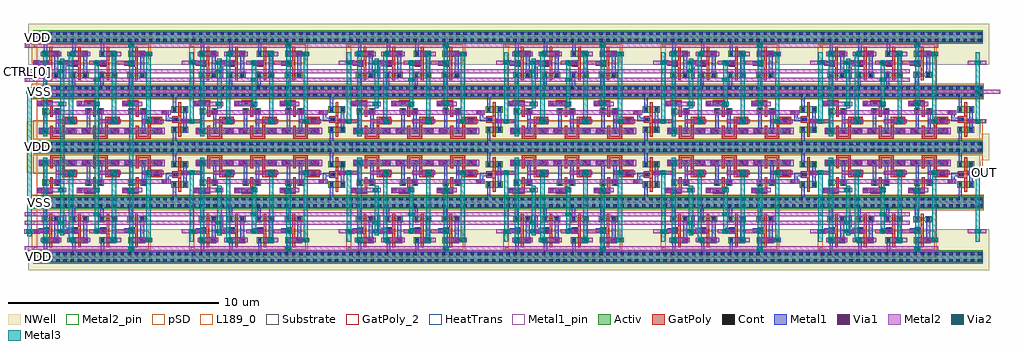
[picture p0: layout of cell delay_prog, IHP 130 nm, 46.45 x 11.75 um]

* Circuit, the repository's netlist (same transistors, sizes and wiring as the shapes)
** sch_path: $SCRIPT_DIR/ADC8711-main/schematic/xschem/delay_prog.sch
.subckt delay_prog OUT IN VDD VSS CTRL[2] CTRL[1] CTRL[0]
*.PININFO IN:I VDD:B VSS:B CTRL[2:0]:I OUT:O
x1 OUT0 IN VDD VSS CTRL[2] CTRL[1] CTRL[0] delay_prog_sub
x2 OUT1 OUT0 VDD VSS CTRL[2] CTRL[1] CTRL[0] delay_prog_sub
x3 OUT2 OUT1 VDD VSS CTRL[2] CTRL[1] CTRL[0] delay_prog_sub
x4 OUT3 OUT2 VDD VSS CTRL[2] CTRL[1] CTRL[0] delay_prog_sub
x5 OUT4 OUT3 VDD VSS CTRL[2] CTRL[1] CTRL[0] delay_prog_sub
x6 OUT5 OUT4 VDD VSS CTRL[2] CTRL[1] CTRL[0] delay_prog_sub
x7 OUT6 OUT5 VDD VSS CTRL[2] CTRL[1] CTRL[0] delay_prog_sub
x8 OUT7 OUT6 VDD VSS CTRL[2] CTRL[1] CTRL[0] delay_prog_sub
x9 OUT8 OUT7 VDD VSS CTRL[2] CTRL[1] CTRL[0] delay_prog_sub
x10 OUT9 OUT8 VDD VSS CTRL[2] CTRL[1] CTRL[0] delay_prog_sub
x11 OUT10 OUT9 VDD VSS CTRL[2] CTRL[1] CTRL[0] delay_prog_sub
x12 OUT OUT10 VDD VSS CTRL[2] CTRL[1] CTRL[0] delay_prog_sub
.ends

* expanding   symbol:  delay_prog_sub.sym # of pins=5
** sym_path: $SCRIPT_DIR/ADC8711-main/schematic/xschem/delay_prog_sub.sym
** sch_path: $SCRIPT_DIR/ADC8711-main/schematic/xschem/delay_prog_sub.sch
.subckt delay_prog_sub OUT IN VDD VSS CTRL[2] CTRL[1] CTRL[0]
*.PININFO IN:I OUT:O VDD:B VSS:B CTRL[2:0]:I
x1 VDD net1 IN VSS INV_D1
x2 VDD OUT net2 VSS INV_D2
x3 CTRL[0] VSS net2 net1 VDD CTRLN[0] TG_2C
x4 CTRL[1] VSS net2 net1 VDD CTRLN[1] TG_2C
x5 CTRL[2] VSS net2 net1 VDD CTRLN[2] TG_2C
x6 VDD CTRLN[0] CTRL[0] VSS INV_D1
x7 VDD CTRLN[1] CTRL[1] VSS INV_D1
x8 VDD CTRLN[2] CTRL[2] VSS INV_D1
.ends


* expanding   symbol:  INV_D1.sym # of pins=4
** sym_path: $SCRIPT_DIR/ADC8711-main/schematic/xschem/INV_D1.sym
** sch_path: $SCRIPT_DIR/ADC8711-main/schematic/xschem/INV_D1.sch
.subckt INV_D1 VDD VOUT VIN VSS
*.PININFO VDD:B VSS:B VOUT:O VIN:I
MM2 VOUT VIN VDD VDD sg13_lv_pmos w=0.3u l=0.13u ng=1
MM1 VOUT VIN VSS VSS sg13_lv_nmos w=0.15u l=0.13u ng=1
.ends


* expanding   symbol:  INV_D2.sym # of pins=4
** sym_path: $SCRIPT_DIR/ADC8711-main/schematic/xschem/INV_D2.sym
** sch_path: $SCRIPT_DIR/ADC8711-main/schematic/xschem/INV_D2.sch
.subckt INV_D2 VDD VOUT VIN VSS
*.PININFO VDD:B VSS:B VOUT:O VIN:I
MM1 VOUT VIN VSS VSS sg13_lv_nmos w=0.3u l=0.13u ng=1
MM2 VOUT VIN VDD VDD sg13_lv_pmos w=0.3u l=0.13u ng=1
.ends


* expanding   symbol:  TG_2C.sym # of pins=6
** sym_path: $SCRIPT_DIR/ADC8711-main/schematic/xschem/TG_2C.sym
** sch_path: $SCRIPT_DIR/ADC8711-main/schematic/xschem/TG_2C.sch
.subckt TG_2C VCTRLN VSS VOUT VIN VDD VCTRLP
*.PININFO VCTRLN:B VCTRLP:B VOUT:O VIN:I VSS:B VDD:B
MM1 VOUT VCTRLN VIN VSS sg13_lv_nmos w=0.15u l=0.13u ng=1
MM2 VOUT VCTRLP VIN VDD sg13_lv_pmos w=0.15u l=0.13u ng=1 m=2
.ends

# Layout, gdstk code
import gdstk
lib = gdstk.Library(unit=1e-6, precision=5e-09)
def R(c, l, rs):  # rectangles x0, y0, x1, y1
    for r in rs: c.add(gdstk.rectangle(r[:2], r[2:], *l))
def A(c, l, x, y, w, h, nx, ny, dx, dy):  # array of equal rectangles
    R(c, l, [(x+i*dx, y+j*dy, x+i*dx+w, y+j*dy+h) for i in range(nx) for j in range(ny)])
Activ = (1, 0)
GatPoly = (5, 0)
GatPoly_2 = (5, 2)
Cont = (6, 0)
Metal1 = (8, 0)
Metal1_pin = (8, 2)
Metal2 = (10, 0)
Metal2_pin = (10, 2)
pSD = (14, 0)
Via1 = (19, 0)
Via2 = (29, 0)
Metal3 = (30, 0)
NWell = (31, 0)
Substrate = (40, 0)
HeatTrans = (51, 0)
L189_0 = (189, 0)

via_stack_12_1 = lib.new_cell('via_stack$12$1')
R(via_stack_12_1, Metal2, [(-0.145,-0.1,0.145,0.1)])
R(via_stack_12_1, Via2, [(-0.095,-0.095,0.095,0.095)])
R(via_stack_12_1, Metal3, [(-0.145,-0.1,0.145,0.1)])

via_stack_8_2 = lib.new_cell('via_stack$8$2')
R(via_stack_8_2, Metal2, [(-0.145,-0.1,0.145,0.1)])
R(via_stack_8_2, Via2, [(-0.095,-0.095,0.095,0.095)])
R(via_stack_8_2, Metal3, [(-0.145,-0.1,0.145,0.1)])

via_stack_7_2 = lib.new_cell('via_stack$7$2')
R(via_stack_7_2, Metal1, [(-0.145,-0.105,0.145,0.105)])
R(via_stack_7_2, Metal2, [(-0.145,-0.1,0.145,0.1)])
R(via_stack_7_2, Via1, [(-0.095,-0.095,0.095,0.095)])

via_stack_10_1 = lib.new_cell('via_stack$10$1')
R(via_stack_10_1, Activ, [(-1.17,-0.32,1.17,0.32)])
A(via_stack_10_1, Cont, -1.1, -0.25, 0.16, 0.16, 7, 2, 0.34, 0.34)
R(via_stack_10_1, Metal1, [(-1.15,-0.25,1.15,0.25)])

nmos_4_4_1 = lib.new_cell('nmos$4$4$1')
R(nmos_4_4_1, Activ, [(0,0.04,0.3,0.34), (0.57,0.04,0.87,0.34), (0,0.115,0.87,0.265)])
R(nmos_4_4_1, GatPoly, [(0.37,-0.065,0.5,0.445)])
R(nmos_4_4_1, GatPoly_2, [(0.37,-0.065,0.5,0.445)])
R(nmos_4_4_1, Cont, [(0.07,0.11,0.23,0.27), (0.64,0.11,0.8,0.27)])
R(nmos_4_4_1, Metal1, [(0.07,0.06,0.23,0.32), (0.64,0.06,0.8,0.32)])
R(nmos_4_4_1, Metal1_pin, [(0.07,0.06,0.23,0.32), (0.64,0.06,0.8,0.32)])
R(nmos_4_4_1, HeatTrans, [(0.37,-0.065,0.5,0.445)])
nmos_4_4_1.add(gdstk.Label('nmos', (0.435,0.19), layer=63, texttype=0))
nmos_4_4_1.add(gdstk.Label('nmos', (0.435,0.19), layer=51, texttype=0))

pmos_4_2_1 = lib.new_cell('pmos$4$2$1')
R(pmos_4_2_1, Activ, [(0,-0.04,0.3,0.26), (0.57,-0.04,0.87,0.26), (0,0.035,0.87,0.185)])
R(pmos_4_2_1, GatPoly, [(0.37,-0.145,0.5,0.365), (0.37,-0.145,0.5,0.365)])
R(pmos_4_2_1, Cont, [(0.07,0.03,0.23,0.19), (0.64,0.03,0.8,0.19)])
R(pmos_4_2_1, Metal1, [(0.07,-0.02,0.23,0.24), (0.07,-0.02,0.23,0.25), (0.64,-0.02,0.8,0.24), (0.64,-0.02,0.8,0.24)])
R(pmos_4_2_1, pSD, [(-0.18,-0.265,1.05,0.485)])
R(pmos_4_2_1, NWell, [(-0.31,-0.37,1.18,0.56)])
R(pmos_4_2_1, Substrate, [(0.57,-0.04,0.87,0.26)])
R(pmos_4_2_1, HeatTrans, [(0.37,-0.145,0.5,0.365)])
pmos_4_2_1.add(gdstk.Label('pmos', (0.435,0.11), layer=63, texttype=0))
pmos_4_2_1.add(gdstk.Label('pmos', (0.435,0.11), layer=51, texttype=0))

via1_constraint_2_6_1 = lib.new_cell('Via1_constraint$2$6$1')
R(via1_constraint_2_6_1, Metal1, [(0,0,0.29,0.29)])
R(via1_constraint_2_6_1, Metal2, [(0,0,0.29,0.29)])
R(via1_constraint_2_6_1, Via1, [(0.05,0.05,0.24,0.24)])

via_stack_4_1 = lib.new_cell('via_stack$4$1')
R(via_stack_4_1, Activ, [(-1.17,-0.32,1.17,0.32)])
A(via_stack_4_1, Cont, -1.1, -0.25, 0.16, 0.16, 7, 2, 0.34, 0.34)
R(via_stack_4_1, Metal1, [(-1.15,-0.25,1.15,0.25)])

via_stack_3_2 = lib.new_cell('via_stack$3$2')
R(via_stack_3_2, GatPoly, [(-0.15,-0.15,0.15,0.15)])
R(via_stack_3_2, Cont, [(-0.08,-0.08,0.08,0.08)])
R(via_stack_3_2, Metal1, [(-0.13,-0.08,0.13,0.08)])

tg_2c_3 = lib.new_cell('TG_2C$3')
R(tg_2c_3, GatPoly_2, [(0.71,0.77,1.26,1.07), (1.83,1.615,2.38,1.915)])
R(tg_2c_3, Metal1, [(0.69,0.46,2.27,0.62), (0.71,0.82,1.25,1), (1.77,1.675,2.31,1.855), (0.87,2.105,0.99,2.395), (1.97,2.105,2.09,2.395), (0.69,2.75,2.27,2.91)])
R(tg_2c_3, Metal1_pin, [(0.69,0.46,2.27,0.62), (0.71,0.82,1.25,1), (1.4,1.235,1.56,1.39), (1.77,1.675,2.31,1.855), (0.69,2.75,2.27,2.91)])
R(tg_2c_3, pSD, [(0.25,0,2.72,0.72)])
R(tg_2c_3, NWell, [(0,1.775,2.965,3.63)])
R(tg_2c_3, L189_0, [(0.475,0.37,2.515,3)])
tg_2c_3.add(gdstk.FlexPath([(1.48,2.395),(1.48,1.185)], 0.16, ends="flush", simple_path=True, layer=8, datatype=0))  # Metal1
tg_2c_3.add(gdstk.FlexPath([(0.91,2.395),(0.91,1.185)], 0.16, ends="flush", simple_path=True, layer=8, datatype=0))  # Metal1
tg_2c_3.add(gdstk.FlexPath([(1.7,1.735),(2.39,1.735)], 0.36, ends="flush", simple_path=True, layer=5, datatype=0))  # GatPoly
tg_2c_3.add(gdstk.FlexPath([(0.71,0.92),(1.26,0.92),(1.26,0.92)], 0.3, ends="flush", simple_path=True, layer=5, datatype=0))  # GatPoly
tg_2c_3.add(gdstk.FlexPath([(1.765,2),(1.765,1.695),(1.765,1.615)], 0.13, ends="flush", simple_path=True, layer=5, datatype=0))  # GatPoly
tg_2c_3.add(gdstk.FlexPath([(1.195,2.44),(1.195,2.54),(1.765,2.54),(1.765,2.44)], 0.13, ends="flush", simple_path=True, layer=5, datatype=0))  # GatPoly
tg_2c_3.add(gdstk.FlexPath([(0.76,2.25),(2.2,2.25),(2.2,2.25)], 0.29, ends="flush", simple_path=True, layer=10, datatype=0))  # Metal2
tg_2c_3.add(gdstk.Reference(nmos_4_4_1, (0.76,1.125)))
tg_2c_3.add(gdstk.Reference(pmos_4_2_1, (0.76,2.145)))
tg_2c_3.add(gdstk.Reference(pmos_4_2_1, (1.33,2.145)))
tg_2c_3.add(gdstk.Reference(via1_constraint_2_6_1, (2.09,2.105)))
tg_2c_3.add(gdstk.Reference(via1_constraint_2_6_1, (0.58,2.105)))
tg_2c_3.add(gdstk.Reference(via_stack_4_1, (1.495,3)))
tg_2c_3.add(gdstk.Reference(via_stack_4_1, (1.495,0.37)))
tg_2c_3.add(gdstk.Reference(via_stack_3_2, (2.07,1.765)))
tg_2c_3.add(gdstk.Reference(via_stack_3_2, (0.94,0.92)))
tg_2c_3.add(gdstk.Label('VIN', (0.875,1.305), layer=8, texttype=25))
tg_2c_3.add(gdstk.Label('VOUT', (1.515,1.28), layer=8, texttype=25))
tg_2c_3.add(gdstk.Label('VDD', (0.78,2.81), layer=8, texttype=25))
tg_2c_3.add(gdstk.Label('VCTRLN', (0.945,0.87), layer=8, texttype=25))
tg_2c_3.add(gdstk.Label('VCTRLP', (2.11,1.705), layer=8, texttype=25))
tg_2c_3.add(gdstk.Label('VSS', (0.685,0.525), layer=8, texttype=25))

pmos_1_13 = lib.new_cell('pmos$1$13')
R(pmos_1_13, Activ, [(0,0,0.3,0.3), (0,0,0.81,0.3), (0.51,0,0.81,0.3)])
R(pmos_1_13, GatPoly, [(0.34,-0.18,0.47,0.49), (0.34,-0.18,0.47,0.49)])
R(pmos_1_13, Cont, [(0.07,0.07,0.23,0.23), (0.58,0.07,0.74,0.23)])
R(pmos_1_13, Metal1, [(0.58,0,0.74,0.3), (0.58,0,0.74,0.3), (0.07,0.015,0.23,0.3), (0.07,0.015,0.23,0.3)])
R(pmos_1_13, pSD, [(-0.495,-0.3,0.99,0.6)])
R(pmos_1_13, NWell, [(-0.31,-0.31,1.12,0.61)])
R(pmos_1_13, Substrate, [(0.51,0,0.81,0.3)])
R(pmos_1_13, HeatTrans, [(0.34,-0.18,0.47,0.49)])
pmos_1_13.add(gdstk.Label('pmos', (0.405,0.15), layer=63, texttype=0))
pmos_1_13.add(gdstk.Label('pmos', (0.405,0.15), layer=51, texttype=0))

nmos_18 = lib.new_cell('nmos$18')
R(nmos_18, Activ, [(0,0,0.3,0.3), (0.57,0,0.87,0.3), (0,0.075,0.87,0.225)])
R(nmos_18, GatPoly, [(0.37,-0.105,0.5,0.405)])
R(nmos_18, GatPoly_2, [(0.37,-0.105,0.5,0.405)])
R(nmos_18, Cont, [(0.07,0.07,0.23,0.23), (0.64,0.07,0.8,0.23)])
R(nmos_18, Metal1, [(0.07,0.02,0.23,0.28), (0.64,0.02,0.8,0.28)])
R(nmos_18, Metal1_pin, [(0.07,0.02,0.23,0.28), (0.64,0.02,0.8,0.28)])
R(nmos_18, HeatTrans, [(0.37,-0.105,0.5,0.405)])
nmos_18.add(gdstk.Label('nmos', (0.435,0.15), layer=63, texttype=0))
nmos_18.add(gdstk.Label('nmos', (0.435,0.15), layer=51, texttype=0))

via_stack_30 = lib.new_cell('via_stack$30')
R(via_stack_30, Activ, [(-0.83,-0.32,0.83,0.32)])
A(via_stack_30, Cont, -0.76, -0.25, 0.16, 0.16, 5, 2, 0.34, 0.34)
R(via_stack_30, Metal1, [(-0.81,-0.25,0.81,0.25)])

inv_d1_13 = lib.new_cell('INV_D1$13')
R(inv_d1_13, GatPoly, [(0.65,0.88,0.78,1.405)])
R(inv_d1_13, Metal1, [(0.35,0.075,0.51,0.73), (0.89,0.585,1.08,1.885), (0.47,1.145,0.63,1.305), (0.38,1.885,0.54,2.45)])
R(inv_d1_13, Metal1_pin, [(0.35,0.075,0.51,0.235), (0.47,1.145,0.63,1.305), (0.89,1.23,1.08,1.41), (0.38,2.29,0.54,2.45)])
R(inv_d1_13, pSD, [(-0.19,-0.425,1.63,0.295)])
R(inv_d1_13, NWell, [(-0.355,1.275,1.785,3.17), (0,2.195,1.43,3.17)])
R(inv_d1_13, Substrate, [(0.82,1.585,1.12,1.885)])
R(inv_d1_13, L189_0, [(0.035,-0.075,1.395,2.54)])
inv_d1_13.add(gdstk.Reference(pmos_1_13, (0.31,1.585)))
inv_d1_13.add(gdstk.Reference(nmos_18, (0.28,0.58)))
inv_d1_13.add(gdstk.Reference(via_stack_30, (0.715,2.54)))
inv_d1_13.add(gdstk.Reference(via_stack_30, (0.715,-0.075)))
inv_d1_13.add(gdstk.Reference(via_stack_3_2, (0.5,1.27)))
inv_d1_13.add(gdstk.Label('nmos', (0.715,0.715), layer=63, texttype=0))
inv_d1_13.add(gdstk.Label('VDD', (0.51,2.425), layer=8, texttype=2))
inv_d1_13.add(gdstk.Label('VSS', (0.465,0.21), layer=8, texttype=2))
inv_d1_13.add(gdstk.Label('VIN', (0.57,1.265), layer=8, texttype=2))
inv_d1_13.add(gdstk.Label('VOUT', (1.04,1.375), layer=8, texttype=2))
inv_d1_13.add(gdstk.Label('VIN', (0.495,1.17), layer=8, texttype=25))

pmos_11 = lib.new_cell('pmos$11')
R(pmos_11, Activ, [(0,0,0.3,0.3), (0,0,0.81,0.3), (0.51,0,0.81,0.3)])
R(pmos_11, GatPoly, [(0.34,-0.18,0.47,0.48), (0.34,-0.18,0.47,0.48)])
R(pmos_11, Cont, [(0.07,0.07,0.23,0.23), (0.58,0.07,0.74,0.23)])
R(pmos_11, Metal1, [(0.07,0,0.23,0.3), (0.07,0,0.23,0.3), (0.58,0,0.74,0.3), (0.58,0,0.74,0.3)])
R(pmos_11, pSD, [(-0.18,-0.3,1.21,0.6)])
R(pmos_11, NWell, [(-0.31,-0.31,1.12,0.61)])
R(pmos_11, Substrate, [(0.51,0,0.81,0.3)])
R(pmos_11, HeatTrans, [(0.34,-0.18,0.47,0.48)])
pmos_11.add(gdstk.Label('pmos', (0.405,0.15), layer=63, texttype=0))
pmos_11.add(gdstk.Label('pmos', (0.405,0.15), layer=51, texttype=0))

nmos_1_9 = lib.new_cell('nmos$1$9')
R(nmos_1_9, Activ, [(0,0,0.3,0.3), (0,0,0.81,0.3), (0.51,0,0.81,0.3)])
R(nmos_1_9, GatPoly, [(0.34,-0.18,0.47,0.48)])
R(nmos_1_9, GatPoly_2, [(0.34,-0.18,0.47,0.48)])
R(nmos_1_9, Cont, [(0.07,0.07,0.23,0.23), (0.58,0.07,0.74,0.23)])
R(nmos_1_9, Metal1, [(0.07,0,0.23,0.3), (0.58,0,0.74,0.3)])
R(nmos_1_9, Metal1_pin, [(0.07,0,0.23,0.3), (0.58,0,0.74,0.3)])
R(nmos_1_9, HeatTrans, [(0.34,-0.18,0.47,0.48)])
nmos_1_9.add(gdstk.Label('nmos', (0.405,0.15), layer=63, texttype=0))
nmos_1_9.add(gdstk.Label('nmos', (0.405,0.15), layer=51, texttype=0))

inv_d2_2 = lib.new_cell('INV_D2$2')
R(inv_d2_2, GatPoly, [(1.18,1.545,1.31,1.865)])
R(inv_d2_2, Metal1, [(0.91,0.335,1.07,1.375), (1.42,1.075,1.58,2.34), (0.91,2.34,1.07,2.985)])
R(inv_d2_2, Metal1_pin, [(1.42,1.075,1.58,2.34)])
R(inv_d2_2, pSD, [(0.195,0.015,2.105,0.735)])
R(inv_d2_2, NWell, [(0.04,1.73,1.96,3.645)])
R(inv_d2_2, L189_0, [(0.545,0.38,1.905,2.995)])
inv_d2_2.add(gdstk.Reference(pmos_11, (0.84,2.04)))
inv_d2_2.add(gdstk.Reference(nmos_1_9, (0.84,1.075)))
inv_d2_2.add(gdstk.Reference(via_stack_30, (1.225,3.015)))
inv_d2_2.add(gdstk.Reference(via_stack_30, (1.225,0.385)))
inv_d2_2.add(gdstk.Reference(via_stack_3_2, (1.03,1.71)))
inv_d2_2.add(gdstk.Label('VSS', (1.27,0.59), layer=8, texttype=2))
inv_d2_2.add(gdstk.Label('VIN', (1.025,1.705), layer=8, texttype=2))
inv_d2_2.add(gdstk.Label('VOUT', (1.495,1.71), layer=8, texttype=2))
inv_d2_2.add(gdstk.Label('VDD', (1.25,2.8), layer=8, texttype=2))
inv_d2_2.add(gdstk.Label('VIN', (1.235,1.79), layer=5, texttype=2))

delay_prog_sub_placement = lib.new_cell('delay_prog_sub_placement')
delay_prog_sub_placement.add(gdstk.Reference(tg_2c_3, (0,3.63), x_reflection=True))
delay_prog_sub_placement.add(gdstk.Reference(tg_2c_3, (2.04,3.63), x_reflection=True))
delay_prog_sub_placement.add(gdstk.Reference(tg_2c_3, (4.08,3.63), x_reflection=True))
r = gdstk.Reference(inv_d1_13, (0.44,3.335)); r.repetition = gdstk.Repetition(1, 1, v1=(0,0), v2=(0,0)); delay_prog_sub_placement.add(r)
r = gdstk.Reference(inv_d1_13, (3.16,3.335)); r.repetition = gdstk.Repetition(1, 1, v1=(0,0), v2=(0,0)); delay_prog_sub_placement.add(r)
r = gdstk.Reference(inv_d1_13, (4.52,3.335)); r.repetition = gdstk.Repetition(1, 1, v1=(0,0), v2=(0,0)); delay_prog_sub_placement.add(r)
r = gdstk.Reference(inv_d1_13, (1.8,3.335)); r.repetition = gdstk.Repetition(1, 1, v1=(0,0), v2=(0,0)); delay_prog_sub_placement.add(r)
delay_prog_sub_placement.add(gdstk.Reference(inv_d2_2, (6.05,3.645), x_reflection=True))

delay_prog_sub = lib.new_cell('delay_prog_sub')
R(delay_prog_sub, Metal1, [(2.69,2.63,2.75,2.81), (2.015,4.48,2.27,4.685)])
R(delay_prog_sub, Metal1_pin, [(0.55,0.545,0.71,0.705), (0.55,3.185,0.71,3.345), (0.41,5.71,0.57,5.87)])
R(delay_prog_sub, Metal2_pin, [(8.075,1.78,8.235,1.94), (0.34,3.745,0.5,3.905), (0.345,4.16,0.505,4.32), (0.345,4.57,0.505,4.73), (0.345,5.39,0.505,5.55)])
R(delay_prog_sub, pSD, [(0.33,1,7.88,1.905), (0.57,4.62,5.82,5.52)])
R(delay_prog_sub, NWell, [(8.01,0,8.415,1.26), (0.085,4.535,8.415,6.505)])
delay_prog_sub.add(gdstk.FlexPath([(2.17,4.56),(1.805,4.56),(1.805,3.88)], 0.16, ends="flush", simple_path=True, layer=8, datatype=0))  # Metal1
delay_prog_sub.add(gdstk.FlexPath([(6.95,1.935),(6.7,1.935),(6.7,2.375)], 0.16, ends="flush", simple_path=True, layer=8, datatype=0))  # Metal1
delay_prog_sub.add(gdstk.FlexPath([(1.07,4.585),(0.565,4.585)], 0.2, ends="flush", simple_path=True, layer=8, datatype=0))  # Metal1
delay_prog_sub.add(gdstk.FlexPath([(3.815,4.585),(3.31,4.585)], 0.2, ends="flush", simple_path=True, layer=8, datatype=0))  # Metal1
delay_prog_sub.add(gdstk.FlexPath([(5.15,4.585),(4.645,4.585)], 0.2, ends="flush", simple_path=True, layer=8, datatype=0))  # Metal1
delay_prog_sub.add(gdstk.FlexPath([(3.475,2.68),(2.4,2.68)], 0.2, ends="flush", simple_path=True, layer=10, datatype=0))  # Metal2
delay_prog_sub.add(gdstk.FlexPath([(0.58,1.39),(6.59,1.39)], 0.29, ends="flush", simple_path=True, layer=10, datatype=0))  # Metal2
delay_prog_sub.add(gdstk.FlexPath([(8.285,4.645),(7.385,4.645)], 0.2, ends="flush", simple_path=True, layer=10, datatype=0))  # Metal2
delay_prog_sub.add(gdstk.FlexPath([(3.815,4.645),(2.985,4.645)], 0.2, ends="flush", simple_path=True, layer=10, datatype=0))  # Metal2
delay_prog_sub.add(gdstk.FlexPath([(3.58,3.825),(0.315,3.825)], 0.2, ends="flush", simple_path=True, layer=10, datatype=0))  # Metal2
delay_prog_sub.add(gdstk.FlexPath([(2.06,4.235),(0.315,4.235)], 0.2, ends="flush", simple_path=True, layer=10, datatype=0))  # Metal2
delay_prog_sub.add(gdstk.FlexPath([(1.06,4.645),(0.32,4.645)], 0.2, ends="flush", simple_path=True, layer=10, datatype=0))  # Metal2
delay_prog_sub.add(gdstk.FlexPath([(1.655,5.055),(0.67,5.055)], 0.2, ends="flush", simple_path=True, layer=10, datatype=0))  # Metal2
delay_prog_sub.add(gdstk.FlexPath([(5.98,5.465),(0.33,5.465)], 0.2, ends="flush", simple_path=True, layer=10, datatype=0))  # Metal2
delay_prog_sub.add(gdstk.FlexPath([(3.04,5.055),(1.93,5.055)], 0.2, ends="flush", simple_path=True, layer=10, datatype=0))  # Metal2
delay_prog_sub.add(gdstk.FlexPath([(4.51,5.055),(3.785,5.055)], 0.2, ends="flush", simple_path=True, layer=10, datatype=0))  # Metal2
delay_prog_sub.add(gdstk.FlexPath([(5.98,5.055),(4.965,5.055)], 0.2, ends="flush", simple_path=True, layer=10, datatype=0))  # Metal2
delay_prog_sub.add(gdstk.FlexPath([(1.89,2.68),(0.495,2.68)], 0.2, ends="flush", simple_path=True, layer=10, datatype=0))  # Metal2
delay_prog_sub.add(gdstk.FlexPath([(5.51,2.68),(4.56,2.68)], 0.2, ends="flush", simple_path=True, layer=10, datatype=0))  # Metal2
delay_prog_sub.add(gdstk.FlexPath([(5.15,4.645),(4.275,4.645)], 0.2, ends="flush", simple_path=True, layer=10, datatype=0))  # Metal2
delay_prog_sub.add(gdstk.FlexPath([(8.285,1.86),(7.385,1.86)], 0.2, ends="flush", simple_path=True, layer=10, datatype=0))  # Metal2
delay_prog_sub.add(gdstk.FlexPath([(6.54,1.86),(5.53,1.86)], 0.2, ends="flush", simple_path=True, layer=10, datatype=0))  # Metal2
delay_prog_sub.add(gdstk.FlexPath([(6.855,2.27),(1.105,2.27)], 0.2, ends="flush", simple_path=True, layer=10, datatype=0))  # Metal2
delay_prog_sub.add(gdstk.FlexPath([(2.5,4.645),(1.615,4.645)], 0.2, ends="flush", simple_path=True, layer=10, datatype=0))  # Metal2
delay_prog_sub.add(gdstk.FlexPath([(1.4,1.86),(2.425,1.86)], 0.2, ends="flush", simple_path=True, layer=10, datatype=0))  # Metal2
delay_prog_sub.add(gdstk.FlexPath([(3.405,1.86),(4.49,1.86)], 0.2, ends="flush", simple_path=True, layer=10, datatype=0))  # Metal2
delay_prog_sub.add(gdstk.FlexPath([(7.865,1.725),(7.865,5.14)], 0.2, ends="flush", simple_path=True, layer=30, datatype=0))  # Metal3
delay_prog_sub.add(gdstk.FlexPath([(0.885,1.14),(0.885,5.155)], 0.2, ends="flush", simple_path=True, layer=30, datatype=0))  # Metal3
delay_prog_sub.add(gdstk.FlexPath([(1.705,2.475),(1.705,4.835)], 0.2, ends="flush", simple_path=True, layer=30, datatype=0))  # Metal3
delay_prog_sub.add(gdstk.FlexPath([(2.115,1.715),(2.115,5.135)], 0.2, ends="flush", simple_path=True, layer=30, datatype=0))  # Metal3
delay_prog_sub.add(gdstk.FlexPath([(3.345,2.525),(3.345,4.76)], 0.2, ends="flush", simple_path=True, layer=30, datatype=0))  # Metal3
delay_prog_sub.add(gdstk.FlexPath([(4.985,2.5),(4.985,5.58)], 0.2, ends="flush", simple_path=True, layer=30, datatype=0))  # Metal3
delay_prog_sub.add(gdstk.FlexPath([(5.805,1.725),(5.805,5.14)], 0.2, ends="flush", simple_path=True, layer=30, datatype=0))  # Metal3
delay_prog_sub.add(gdstk.FlexPath([(4.165,1.71),(4.165,5.125)], 0.2, ends="flush", simple_path=True, layer=30, datatype=0))  # Metal3
delay_prog_sub.add(gdstk.Reference(via_stack_8_2, (2.16,1.86)))
delay_prog_sub.add(gdstk.Reference(via_stack_8_2, (4.165,1.86)))
delay_prog_sub.add(gdstk.Reference(via_stack_8_2, (5.805,1.86)))
delay_prog_sub.add(gdstk.Reference(via_stack_7_2, (1.48,2.27)))
delay_prog_sub.add(gdstk.Reference(via_stack_7_2, (3.52,2.27)))
delay_prog_sub.add(gdstk.Reference(via_stack_7_2, (5.56,2.27)))
delay_prog_sub.add(gdstk.Reference(via_stack_8_2, (5.805,5.055)))
delay_prog_sub.add(gdstk.Reference(via_stack_8_2, (4.165,5.055)))
delay_prog_sub.add(gdstk.Reference(via_stack_8_2, (2.16,5.055)))
delay_prog_sub.add(gdstk.Reference(via_stack_8_2, (0.885,5.055)))
delay_prog_sub.add(gdstk.Reference(via_stack_8_2, (0.885,1.39)))
delay_prog_sub.add(gdstk.Reference(via_stack_7_2, (1.425,5.055)))
delay_prog_sub.add(gdstk.Reference(via_stack_7_2, (2.785,5.055)))
delay_prog_sub.add(gdstk.Reference(via_stack_7_2, (4.145,5.055)))
delay_prog_sub.add(gdstk.Reference(via_stack_7_2, (5.505,5.055)))
delay_prog_sub.add(gdstk.Reference(via_stack_7_2, (2.1,1.86)))
delay_prog_sub.add(gdstk.Reference(via_stack_7_2, (4.16,1.86)))
delay_prog_sub.add(gdstk.Reference(via_stack_7_2, (6.58,2.27)))
delay_prog_sub.add(gdstk.Reference(via_stack_7_2, (2.1,1.86)))
delay_prog_sub.add(gdstk.Reference(via_stack_7_2, (4.16,1.86)))
delay_prog_sub.add(gdstk.Reference(via_stack_7_2, (6.195,1.86)))
delay_prog_sub.add(gdstk.Reference(via_stack_7_2, (1.87,4.645)))
delay_prog_sub.add(gdstk.Reference(via_stack_8_2, (1.66,4.235)))
delay_prog_sub.add(gdstk.Reference(via_stack_8_2, (1.66,2.68)))
delay_prog_sub.add(gdstk.Reference(via_stack_8_2, (3.345,2.68)))
delay_prog_sub.add(gdstk.Reference(via_stack_8_2, (3.345,4.645)))
delay_prog_sub.add(gdstk.Reference(via_stack_8_2, (4.985,4.645)))
delay_prog_sub.add(gdstk.Reference(via_stack_8_2, (4.985,2.68)))
delay_prog_sub.add(gdstk.Reference(via_stack_7_2, (7.545,1.86)))
delay_prog_sub.add(gdstk.Reference(via_stack_8_2, (4.985,5.465)))
delay_prog_sub.add(gdstk.Reference(via_stack_8_2, (3.345,3.825)))
delay_prog_sub.add(gdstk.Reference(via_stack_7_2, (0.49,4.645)))
delay_prog_sub.add(gdstk.Reference(via_stack_7_2, (0.64,2.725)))
delay_prog_sub.add(gdstk.Reference(via_stack_7_2, (2.545,2.725)))
delay_prog_sub.add(gdstk.Reference(via_stack_7_2, (4.705,2.725)))
delay_prog_sub.add(gdstk.Reference(via_stack_8_2, (1.66,4.645)))
delay_prog_sub.add(gdstk.Reference(via_stack_8_2, (7.865,4.645)))
delay_prog_sub.add(gdstk.Reference(via_stack_8_2, (7.865,1.86)))
delay_prog_sub.add(gdstk.Reference(via_stack_10_1, (6.935,5.875)))
delay_prog_sub.add(gdstk.Reference(delay_prog_sub_placement, (0,0)))
delay_prog_sub.add(gdstk.Reference(via_stack_7_2, (5.005,4.645)))
delay_prog_sub.add(gdstk.Reference(via_stack_7_2, (3.67,4.645)))
delay_prog_sub.add(gdstk.Label('VDD', (0.49,5.79), layer=8, texttype=25))
delay_prog_sub.add(gdstk.Label('VDD', (0.63,0.625), layer=8, texttype=25))
delay_prog_sub.add(gdstk.Label('VSS', (0.63,3.265), layer=8, texttype=25))
delay_prog_sub.add(gdstk.Label('IN', (0.425,4.56), layer=10, texttype=25))
delay_prog_sub.add(gdstk.Label('OUT', (8.155,1.86), layer=10, texttype=25))
delay_prog_sub.add(gdstk.Label('CTRL[0]', (0.425,4.15), layer=10, texttype=25))
delay_prog_sub.add(gdstk.Label('CTRL[1]', (0.42,3.735), layer=10, texttype=25))
delay_prog_sub.add(gdstk.Label('CTRL[2]', (0.425,5.38), layer=10, texttype=25))

delay_prog_sub_track = lib.new_cell('delay_prog_sub_Track')
delay_prog_sub_track.add(gdstk.Reference(delay_prog_sub, (0,0)))

delay_prog = lib.new_cell('delay_prog')
R(delay_prog, Metal1_pin, [(0.59,0.59,0.75,0.75), (0.665,3.16,0.825,3.32), (0.575,5.81,0.735,5.97), (0.66,8.43,0.82,8.59), (0.58,10.99,0.74,11.15)])
R(delay_prog, Metal2_pin, [(45.615,4.565,45.775,4.725), (0.11,8.98,0.27,9.14), (0.105,9.405,0.265,9.565), (0.465,9.815,0.625,9.975), (0.115,10.63,0.275,10.79)])
delay_prog.add(gdstk.FlexPath([(0.04,2.27),(42.165,2.27)], 0.2, ends="flush", simple_path=True, layer=10, datatype=0))  # Metal2
delay_prog.add(gdstk.FlexPath([(0.04,2.68),(42.165,2.68)], 0.2, ends="flush", simple_path=True, layer=10, datatype=0))  # Metal2
delay_prog.add(gdstk.FlexPath([(0.04,10.71),(42.165,10.71)], 0.2, ends="flush", simple_path=True, layer=10, datatype=0))  # Metal2
delay_prog.add(gdstk.FlexPath([(0.04,9.07),(42.165,9.07)], 0.2, ends="flush", simple_path=True, layer=10, datatype=0))  # Metal2
delay_prog.add(gdstk.FlexPath([(0.04,9.48),(42.165,9.48)], 0.2, ends="flush", simple_path=True, layer=10, datatype=0))  # Metal2
delay_prog.add(gdstk.FlexPath([(0.04,1.04),(42.165,1.04)], 0.2, ends="flush", simple_path=True, layer=10, datatype=0))  # Metal2
delay_prog.add(gdstk.FlexPath([(0.12,8.51),(46.45,8.51)], 0.2, ends="flush", simple_path=True, layer=10, datatype=0))  # Metal2
delay_prog.add(gdstk.FlexPath([(0,1.855),(0.625,1.855)], 0.2, ends="flush", simple_path=True, layer=10, datatype=0))  # Metal2
delay_prog.add(gdstk.FlexPath([(0.26,8.725),(0.26,1.63)], 0.2, ends="flush", simple_path=True, layer=30, datatype=0))  # Metal3
delay_prog.add(gdstk.FlexPath([(1.825,7.72),(1.825,3.865)], 0.2, ends="flush", simple_path=True, layer=30, datatype=0))  # Metal3
delay_prog.add(gdstk.FlexPath([(3.465,7.77),(3.465,3.865)], 0.2, ends="flush", simple_path=True, layer=30, datatype=0))  # Metal3
delay_prog.add(gdstk.FlexPath([(5.105,7.77),(5.105,3.865)], 0.2, ends="flush", simple_path=True, layer=30, datatype=0))  # Metal3
delay_prog.add(gdstk.Reference(via_stack_12_1, (45.385,8.51)))
delay_prog.add(gdstk.Reference(via_stack_12_1, (0.26,1.855)))
delay_prog.add(gdstk.Reference(via_stack_12_1, (0.26,8.51)))
r = gdstk.Reference(delay_prog_sub_track, (0.12,5.245)); r.repetition = gdstk.Repetition(6, 1, v1=(7.48,0), v2=(0,0)); delay_prog.add(r)
r = gdstk.Reference(delay_prog_sub_track, (0.12,6.505), x_reflection=True); r.repetition = gdstk.Repetition(6, 1, v1=(7.48,0), v2=(0,0)); delay_prog.add(r)
delay_prog.add(gdstk.Label('VDD', (0.66,11.07), layer=8, texttype=25))
delay_prog.add(gdstk.Label('VDD', (0.655,5.89), layer=8, texttype=25))
delay_prog.add(gdstk.Label('VDD', (0.67,0.67), layer=8, texttype=25))
delay_prog.add(gdstk.Label('VSS', (0.74,8.51), layer=8, texttype=25))
delay_prog.add(gdstk.Label('VSS', (0.745,3.24), layer=8, texttype=25))
delay_prog.add(gdstk.Label('OUT', (45.695,4.645), layer=10, texttype=25))
delay_prog.add(gdstk.Label('CTRL[0]', (0.185,9.485), layer=10, texttype=25))
delay_prog.add(gdstk.Label('CTRL[1]', (0.19,9.06), layer=10, texttype=25))
delay_prog.add(gdstk.Label('CTRL[2]', (0.195,10.71), layer=10, texttype=25))
delay_prog.add(gdstk.Label('IN', (0.545,9.895), layer=10, texttype=25))

lib.write_gds('delay_prog.gds')
